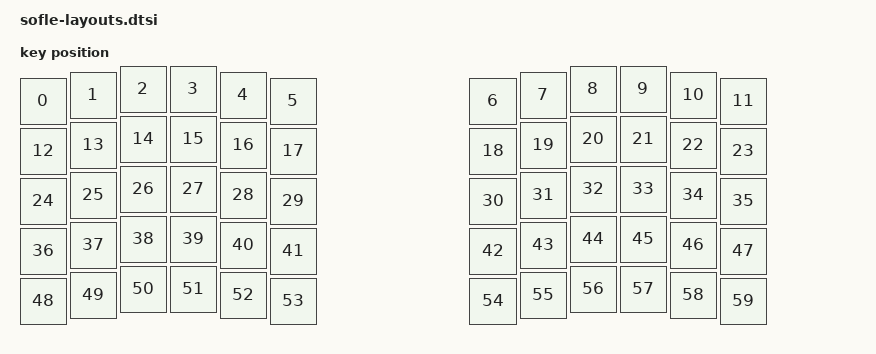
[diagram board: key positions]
#include <physical_layouts.dtsi>

/ {
    layout_0: layout_0 {
        compatible = "zmk,physical-layout";
        display-name = "LAYOUT";

        kscan = <&kscan0>;
        transform = <&default_transform>;

        keys  //                     w   h    x    y     rot    rx    ry
            = <&key_physical_attrs 100 100    0   24       0     0     0>
            , <&key_physical_attrs 100 100  100   12       0     0     0>
            , <&key_physical_attrs 100 100  200    0       0     0     0>
            , <&key_physical_attrs 100 100  300    0       0     0     0>
            , <&key_physical_attrs 100 100  400   12       0     0     0>
            , <&key_physical_attrs 100 100  500   24       0     0     0>
            , <&key_physical_attrs 100 100  900   24       0     0     0>
            , <&key_physical_attrs 100 100 1000   12       0     0     0>
            , <&key_physical_attrs 100 100 1100    0       0     0     0>
            , <&key_physical_attrs 100 100 1200    0       0     0     0>
            , <&key_physical_attrs 100 100 1300   12       0     0     0>
            , <&key_physical_attrs 100 100 1400   24       0     0     0>

            , <&key_physical_attrs 100 100    0  124       0     0     0>
            , <&key_physical_attrs 100 100  100  112       0     0     0>
            , <&key_physical_attrs 100 100  200  100       0     0     0>
            , <&key_physical_attrs 100 100  300  100       0     0     0>
            , <&key_physical_attrs 100 100  400  112       0     0     0>
            , <&key_physical_attrs 100 100  500  124       0     0     0>
            , <&key_physical_attrs 100 100  900  124       0     0     0>
            , <&key_physical_attrs 100 100 1000  112       0     0     0>
            , <&key_physical_attrs 100 100 1100  100       0     0     0>
            , <&key_physical_attrs 100 100 1200  100       0     0     0>
            , <&key_physical_attrs 100 100 1300  112       0     0     0>
            , <&key_physical_attrs 100 100 1400  124       0     0     0>

            , <&key_physical_attrs 100 100    0  224       0     0     0>
            , <&key_physical_attrs 100 100  100  212       0     0     0>
            , <&key_physical_attrs 100 100  200  200       0     0     0>
            , <&key_physical_attrs 100 100  300  200       0     0     0>
            , <&key_physical_attrs 100 100  400  212       0     0     0>
            , <&key_physical_attrs 100 100  500  224       0     0     0>
            , <&key_physical_attrs 100 100  900  224       0     0     0>
            , <&key_physical_attrs 100 100 1000  212       0     0     0>
            , <&key_physical_attrs 100 100 1100  200       0     0     0>
            , <&key_physical_attrs 100 100 1200  200       0     0     0>
            , <&key_physical_attrs 100 100 1300  212       0     0     0>
            , <&key_physical_attrs 100 100 1400  224       0     0     0>

            , <&key_physical_attrs 100 100    0  324       0     0     0>
            , <&key_physical_attrs 100 100  100  312       0     0     0>
            , <&key_physical_attrs 100 100  200  300       0     0     0>
            , <&key_physical_attrs 100 100  300  300       0     0     0>
            , <&key_physical_attrs 100 100  400  312       0     0     0>
            , <&key_physical_attrs 100 100  500  324       0     0     0>
            , <&key_physical_attrs 100 100  900  324       0     0     0>
            , <&key_physical_attrs 100 100 1000  312       0     0     0>
            , <&key_physical_attrs 100 100 1100  300       0     0     0>
            , <&key_physical_attrs 100 100 1200  300       0     0     0>
            , <&key_physical_attrs 100 100 1300  312       0     0     0>
            , <&key_physical_attrs 100 100 1400  324       0     0     0>

            , <&key_physical_attrs 100 100    0  424       0     0     0>
            , <&key_physical_attrs 100 100  100  412       0     0     0>
            , <&key_physical_attrs 100 100  200  400       0     0     0>
            , <&key_physical_attrs 100 100  300  400       0     0     0>
            , <&key_physical_attrs 100 100  400  412       0     0     0>
            , <&key_physical_attrs 100 100  500  424       0     0     0>
            , <&key_physical_attrs 100 100  900  424       0     0     0>
            , <&key_physical_attrs 100 100 1000  412       0     0     0>
            , <&key_physical_attrs 100 100 1100  400       0     0     0>
            , <&key_physical_attrs 100 100 1200  400       0     0     0>
            , <&key_physical_attrs 100 100 1300  412       0     0     0>
            , <&key_physical_attrs 100 100 1400  424       0     0     0>
            ;
    };
};
